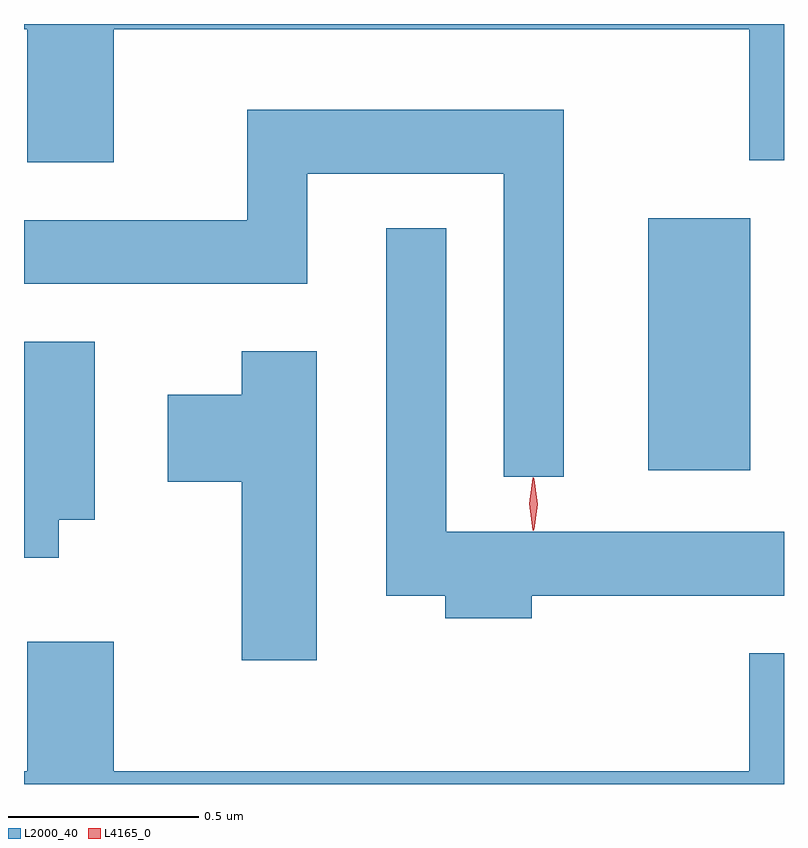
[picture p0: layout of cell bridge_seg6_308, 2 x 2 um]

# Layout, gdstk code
import gdstk
lib = gdstk.Library(unit=1e-6, precision=1e-09)
def R(c, l, rs):  # rectangles x0, y0, x1, y1
    for r in rs: c.add(gdstk.rectangle(r[:2], r[2:], *l))
def P(c, l, *ps):  # polygons
    for p in ps: c.add(gdstk.Polygon(p, *l))
L2000_40 = (2000, 40)
L4165_0 = (4165, 0)

bridge_seg6_308 = lib.new_cell('bridge_seg6_308')
R(bridge_seg6_308, L2000_40, [(1260.506,1544.436,1260.774,1545.099)])
P(bridge_seg6_308, L2000_40, [(1259.099,1545.596),(1260.771,1545.596),(1260.771,1545.251),(1260.863,1545.251),(1260.863,1545.61),(1258.863,1545.61),(1258.863,1545.596),(1258.871,1545.596),(1258.871,1545.246),(1259.099,1545.246)],
  [(1260.284,1545.384),(1259.451,1545.384),(1259.451,1545.094),(1258.863,1545.094),(1258.863,1544.926),(1259.609,1544.926),(1259.609,1545.216),(1260.126,1545.216),(1260.126,1544.418),(1260.284,1544.418)],
  [(1260.199,1544.106),(1260.863,1544.106),(1260.863,1544.274),(1259.974,1544.274),(1259.974,1545.073),(1259.816,1545.073),(1259.816,1544.106),(1259.971,1544.106),(1259.971,1544.046),(1260.199,1544.046)],
  [(1258.954,1544.306),(1259.049,1544.306),(1259.049,1544.774),(1258.863,1544.774),(1258.863,1544.206),(1258.954,1544.206)],
  [(1259.634,1544.749),(1259.436,1544.749),(1259.436,1544.634),(1259.241,1544.634),(1259.241,1544.406),(1259.436,1544.406),(1259.436,1543.936),(1259.634,1543.936)],
  [(1259.099,1543.984),(1258.871,1543.984),(1258.871,1543.644),(1258.863,1543.644),(1258.863,1543.61),(1260.863,1543.61),(1260.863,1543.954),(1260.771,1543.954),(1260.771,1543.644),(1259.099,1543.644)])
P(bridge_seg6_308, L4165_0, [(1260.203,1544.277),(1260.202,1544.278),(1260.193,1544.347),(1260.202,1544.416),(1260.203,1544.416),(1260.204,1544.416),(1260.213,1544.347),(1260.204,1544.278)],
  [(1260.205,1544.28),(1260.196,1544.346),(1260.205,1544.412),(1260.206,1544.413),(1260.206,1544.412),(1260.215,1544.346),(1260.206,1544.28),(1260.206,1544.28)])

lib.write_gds('bridge_seg6_308.gds')
